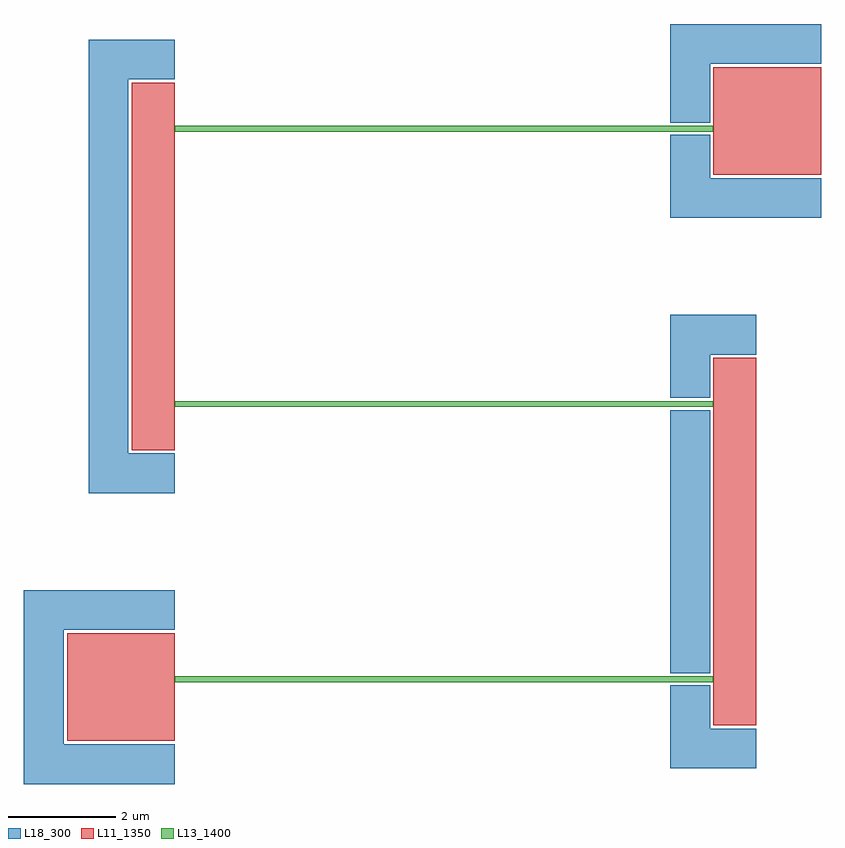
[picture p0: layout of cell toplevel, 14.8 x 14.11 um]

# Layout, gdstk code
from math import pi, radians
import gdstk
lib = gdstk.Library(unit=1e-6, precision=1e-09)
def R(c, l, rs):  # rectangles x0, y0, x1, y1
    for r in rs: c.add(gdstk.rectangle(r[:2], r[2:], *l))
def P(c, l, *ps):  # polygons
    for p in ps: c.add(gdstk.Polygon(p, *l))
L11_1350 = (11, 1350)
L13_1400 = (13, 1400)
L18_300 = (18, 300)

rectangle006 = lib.new_cell('rectangle006')
R(rectangle006, L11_1350, [(0,0,0.8,5.22)])

rectangle007 = lib.new_cell('rectangle007')
R(rectangle007, L11_1350, [(0,-0.8,0.8,0)])

rectangle008 = lib.new_cell('rectangle008')
R(rectangle008, L11_1350, [(0,5.22,0.8,6.02)])

arm_connector = lib.new_cell('Arm connector')
arm_connector.add(gdstk.Reference(rectangle006, (-0.8,-5.11)))
arm_connector.add(gdstk.Reference(rectangle007, (-0.8,-5.11)))
arm_connector.add(gdstk.Reference(rectangle008, (-0.8,-5.11)))

rectangle010 = lib.new_cell('rectangle010')
R(rectangle010, L11_1350, [(0,0,0.8,5.22)])

rectangle011 = lib.new_cell('rectangle011')
R(rectangle011, L11_1350, [(0,-0.8,0.8,0)])

rectangle012 = lib.new_cell('rectangle012')
R(rectangle012, L11_1350, [(0,5.22,0.8,6.02)])

arm_connector009 = lib.new_cell('Arm connector009')
arm_connector009.add(gdstk.Reference(rectangle010, (10,-10.22)))
arm_connector009.add(gdstk.Reference(rectangle011, (10,-10.22)))
arm_connector009.add(gdstk.Reference(rectangle012, (10,-10.22)))

arms = lib.new_cell('Arms')
arms.add(gdstk.Reference(arm_connector, (0,0)))
arms.add(gdstk.Reference(arm_connector009, (0,0)))

rectangle = lib.new_cell('rectangle')
R(rectangle, L13_1400, [(0,0,10,0.11)])

resistive_segment = lib.new_cell('Resistive segment')
resistive_segment.add(gdstk.Reference(rectangle, (0,0)))

rectangle003 = lib.new_cell('rectangle003')
R(rectangle003, L13_1400, [(0,0,10,0.11)])

resistive_segment002 = lib.new_cell('Resistive segment002')
resistive_segment002.add(gdstk.Reference(rectangle003, (0,-5.11)))

rectangle005 = lib.new_cell('rectangle005')
R(rectangle005, L13_1400, [(0,0,10,0.11)])

resistive_segment004 = lib.new_cell('Resistive segment004')
resistive_segment004.add(gdstk.Reference(rectangle005, (0,-10.22)))

resistive_segments = lib.new_cell('Resistive segments')
resistive_segments.add(gdstk.Reference(resistive_segment, (0,0)))
resistive_segments.add(gdstk.Reference(resistive_segment002, (0,0)))
resistive_segments.add(gdstk.Reference(resistive_segment004, (0,0)))

boolean = lib.new_cell('boolean')
P(boolean, L18_300, [(0,-5.97),(-0.86,-5.97),(-0.86,0.97),(0,0.97),(0,1.71),(-1.6,1.71),(-1.6,-6.71),(0,-6.71)])

boolean013 = lib.new_cell('boolean013')
R(boolean013, L18_300, [(9.2,-10.05,9.94,-5.17)])
P(boolean013, L18_300, [(9.94,-4.14),(10.8,-4.14),(10.8,-3.4),(9.2,-3.4),(9.2,-4.94),(9.94,-4.94)],
  [(10.8,-11.08),(9.94,-11.08),(9.94,-10.28),(9.2,-10.28),(9.2,-11.82),(10.8,-11.82)])

boolean019 = lib.new_cell('boolean019')
P(boolean019, L18_300, [(9.94,1.26),(12,1.26),(12,2),(9.2,2),(9.2,0.17),(9.94,0.17)],
  [(12,-0.86),(9.94,-0.86),(9.94,-0.06),(9.2,-0.06),(9.2,-1.6),(12,-1.6)],
  [(0,-11.37),(-2.06,-11.37),(-2.06,-9.25),(0,-9.25),(0,-8.51),(-2.8,-8.51),(-2.8,-12.11),(0,-12.11)])

liftoff_undercut = lib.new_cell('Liftoff undercut')
liftoff_undercut.add(gdstk.Reference(boolean, (0,0)))
liftoff_undercut.add(gdstk.Reference(boolean013, (0,0)))
liftoff_undercut.add(gdstk.Reference(boolean019, (0,0)))

rectangle014 = lib.new_cell('rectangle014')
R(rectangle014, L11_1350, [(-2,0,0,1.2)])

connector = lib.new_cell('Connector')
connector.add(gdstk.Reference(rectangle014, (0,0)))

rectangle015 = lib.new_cell('rectangle015')
R(rectangle015, L11_1350, [(-2,-0.8,0,0)])

top_connector = lib.new_cell('Top connector')
top_connector.add(gdstk.Reference(connector, (10,0), rotation=pi, x_reflection=True))
top_connector.add(gdstk.Reference(rectangle015, (10,0), rotation=pi, x_reflection=True))

rectangle017 = lib.new_cell('rectangle017')
R(rectangle017, L11_1350, [(-2,0,0,1.2)])

rectangle018 = lib.new_cell('rectangle018')
R(rectangle018, L11_1350, [(-2,1.2,0,2)])

connector016 = lib.new_cell('Connector016')
connector016.add(gdstk.Reference(rectangle017, (-2,-11.31), rotation=pi, x_reflection=True))
connector016.add(gdstk.Reference(rectangle018, (-2,-11.31), rotation=pi, x_reflection=True))

bot_connector = lib.new_cell('Bot connector')
bot_connector.add(gdstk.Reference(connector016, (0,0)))

toplevel = lib.new_cell('toplevel')
toplevel.add(gdstk.Reference(arms, (0,0)))
toplevel.add(gdstk.Reference(resistive_segments, (0,0)))
toplevel.add(gdstk.Reference(liftoff_undercut, (0,0)))
toplevel.add(gdstk.Reference(top_connector, (0,0)))
toplevel.add(gdstk.Reference(bot_connector, (0,0)))

lib.write_gds('toplevel.gds')
